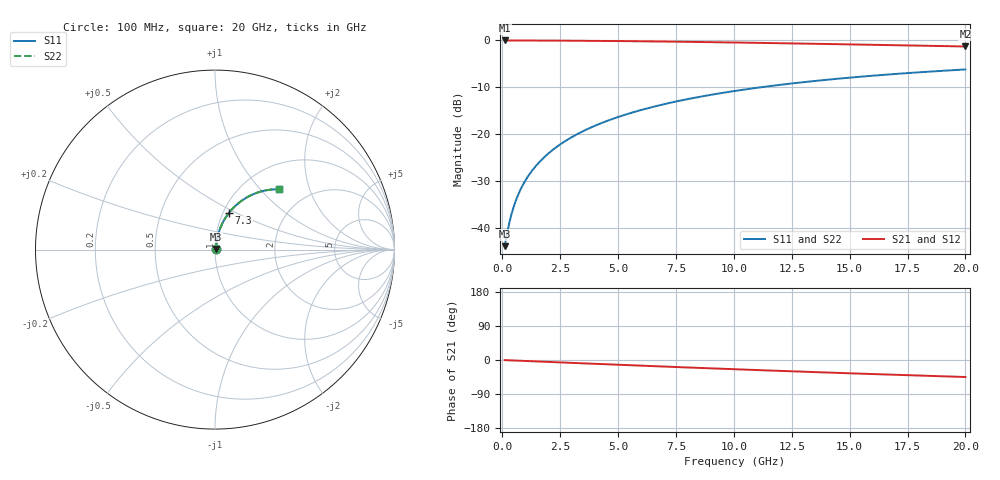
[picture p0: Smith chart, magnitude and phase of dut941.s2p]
! Touchstone file exported from HFSS 2026.1.0
!  File:  C:/ffzhzh/LocalFiles/Ansys_Project_Files/temp_train_TMRDL_941_1783158511_55132.aedt
!  Generated:  05:49:44 PM Jul  4, 2026
!  Design:  TMRDL
!  Project:  temp_train_TMRDL_941_1783158511_55132
! Variables:
!  h_bsmrdl = 2um
!  h_ox = 20um
!  h_rdl = 5um
!  h_sub = 80um
!  h_tmrdl = 3.3um
!  h_tsv = 80um
!  h_via = 3um
!  l_bsmrdl = 300um
!  l_sub = 1007.58um
!  l_tmrdl = 607.58um
!  m_sub = 200um
!  pitch = 42.83um
!  r_tsv = 6um
!  s_tmrdl = 10um
!  w_bsmrdl = 18um
!  w_sub = 500um
!  w_tmrdl = 11.87um
!  x_tsv_center1 = 613.515um
!  x_tsv_center2 = 931.515um
!  x_tsv_center3 = 1550.965um
!  x_tsv_center4 = 1868.965um
!  x_tsv_center5 = 2488.415um
!  x_tsv_center6 = 2806.415um
# GHz S MA R 50.000000
! Terminal data exported
! Port[1] = TM_RDL1_1_T1
! Port[2] = TM_RDL1_1_T2
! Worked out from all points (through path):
!   200 points, 100 MHz to 20 GHz, reference 50 ohm
!   highest |S21| = -0.05 dB at 100 MHz (marker M1); lowest = -1.3 dB at 20 GHz (marker M2)
!   group delay of S21, straight-line fit = 6.24 ps
!   lowest |S11| = -43.9 dB at 100 MHz (marker M3), VSWR 1.01, Z = 50.6 + j0.327 ohm
!   |S11| at or under -10 dB: start of sweep to 11.19 GHz
!   |S22| runs from -43.9 to -6.2 dB; largest |S21 - S12| = 2.1e-15
!   S11 on the Smith chart (normalised r, x): 100 MHz: 1.01, +0.01; 7.3 GHz: 1.07, +0.45; 20 GHz: 1.44, +1.27
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0.1  0.006415 30.2  0.9945 -0.3  0.9945 -0.3  0.006415 30.2
! Gamma 0 0 0 0
! Port Impedance 50 0 50 0
0.3  0.01124 58.9  0.9943 -0.8  0.9943 -0.8  0.01124 58.9
0.4  0.01412 64.8  0.9941 -1.0  0.9941 -1.0  0.01412 64.8
0.5  0.01708 68.6  0.994 -1.3  0.994 -1.3  0.01708 68.6
0.6  0.02007 71.1  0.9938 -1.6  0.9938 -1.6  0.02007 71.1
0.8  0.0261 74.3  0.9935 -2.1  0.9935 -2.1  0.0261 74.3
1.1  0.03518 76.8  0.9931 -2.8  0.9931 -2.8  0.03518 76.8
1.3  0.04126 77.7  0.9927 -3.3  0.9927 -3.3  0.04126 77.7
1.6  0.05038 78.4  0.9922 -4.1  0.9922 -4.1  0.05038 78.4
2.1  0.0656 78.7  0.9911 -5.3  0.9911 -5.3  0.0656 78.7
2.7  0.08382 78.3  0.9895 -6.8  0.9895 -6.8  0.08382 78.3
3.5  0.1079 77.2  0.9868 -8.8  0.9868 -8.8  0.1079 77.2
4.2  0.1287 76.0  0.9839 -10.6  0.9839 -10.6  0.1287 76.0
5  0.1522 74.3  0.9801 -12.5  0.9801 -12.5  0.1522 74.4
5.9  0.1781 72.4  0.9752 -14.7  0.9752 -14.7  0.1781 72.4
6.8  0.2033 70.5  0.9698 -16.9  0.9698 -16.9  0.2033 70.5
7.3  0.217 69.3  0.9665 -18.1  0.9665 -18.1  0.217 69.4
8.6  0.2517 66.5  0.9573 -21.1  0.9573 -21.1  0.2517 66.5
10.1  0.2898 63.2  0.9457 -24.5  0.9457 -24.5  0.2898 63.2
13.4  0.3663 56.2  0.9176 -31.8  0.9176 -31.8  0.3663 56.2
16.7  0.4324 49.6  0.8877 -38.5  0.8877 -38.5  0.4324 49.7
20  0.4885 43.4  0.858 -44.8  0.858 -44.8  0.4885 43.5
